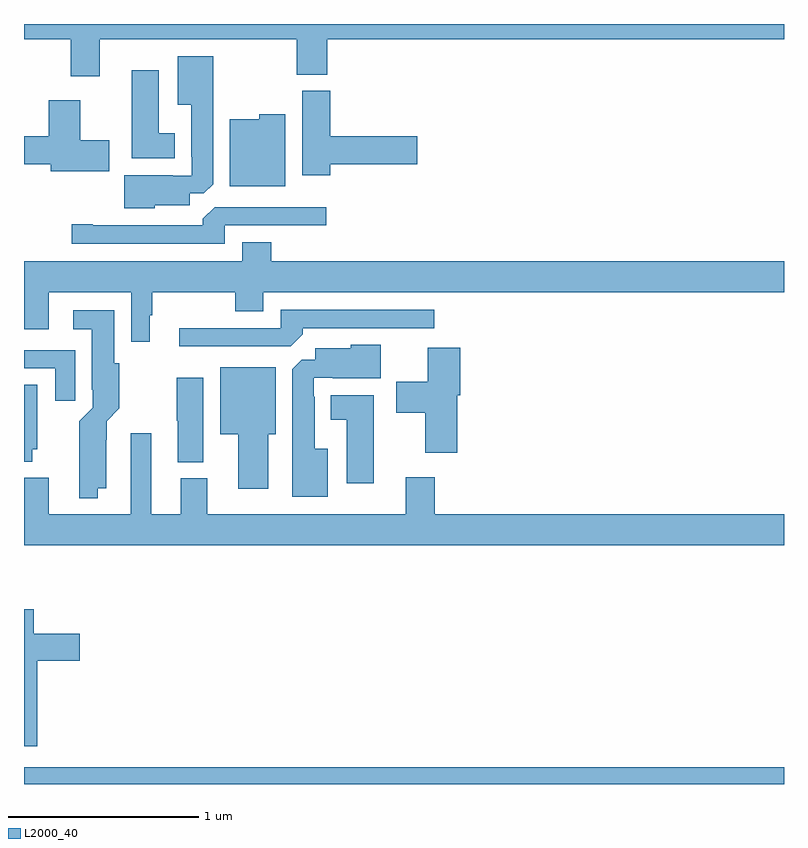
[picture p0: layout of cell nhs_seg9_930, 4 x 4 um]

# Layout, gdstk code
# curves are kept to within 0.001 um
import gdstk
lib = gdstk.Library(unit=1e-6, precision=1e-09)
def R(c, l, rs):  # rectangles x0, y0, x1, y1
    for r in rs: c.add(gdstk.rectangle(r[:2], r[2:], *l))
def P(c, l, *ps):  # polygons
    for p in ps: c.add(gdstk.Polygon(p, *l))
L2000_40 = (2000, 40)

nhs_seg9_930 = lib.new_cell('nhs_seg9_930')
R(nhs_seg9_930, L2000_40, [(161,1192.5,165,1192.588)])
P(nhs_seg9_930, L2000_40, [(161.398,1196.42),(162.436,1196.42),(162.436,1196.233),(162.596,1196.233),(162.596,1196.42),(165,1196.42),(165,1196.5),(161,1196.5),(161,1196.42),(161.246,1196.42),(161.246,1196.226),(161.398,1196.226)],
  [(161.688,1195.547),(161.872,1195.547),(161.872,1195.608),(161.946,1195.608),(161.995,1195.657),(161.995,1196.329),(161.81,1196.329),(161.81,1196.075),(161.879,1196.075),(161.879,1195.801),(161.883,1195.801),(161.883,1195.701),(161.783,1195.701),(161.783,1195.705),(161.528,1195.705),(161.528,1195.529),(161.688,1195.529)],
  [(161.794,1195.924),(161.71,1195.924),(161.71,1196.257),(161.567,1196.257),(161.567,1195.793),(161.794,1195.793)],
  [(162.611,1195.763),(163.069,1195.763),(163.069,1195.91),(162.611,1195.91),(162.611,1196.148),(162.464,1196.148),(162.464,1195.704),(162.611,1195.704)],
  [(161.449,1195.887),(161.296,1195.887),(161.296,1196.098),(161.129,1196.098),(161.129,1195.91),(161,1195.91),(161,1195.763),(161.141,1195.763),(161.141,1195.724),(161.449,1195.724)],
  [(162.376,1196.026),(162.237,1196.026),(162.237,1195.999),(162.083,1195.999),(162.083,1195.646),(162.376,1195.646)],
  [(162.057,1195.44),(162.592,1195.44),(162.592,1195.536),(162.003,1195.536),(161.942,1195.474),(161.942,1195.44),(161.362,1195.44),(161.362,1195.445),(161.25,1195.445),(161.25,1195.344),(162.057,1195.344)],
  [(161.662,1194.966),(161.674,1194.966),(161.674,1195.088),(162.112,1195.088),(162.112,1194.989),(162.259,1194.989),(162.259,1195.088),(165,1195.088),(165,1195.252),(162.302,1195.252),(162.302,1195.351),(162.149,1195.351),(162.149,1195.252),(161,1195.252),(161,1194.894),(161.131,1194.894),(161.131,1195.088),(161.565,1195.088),(161.565,1194.828),(161.662,1194.828)],
  [(162.467,1194.866),(162.467,1194.9),(163.159,1194.9),(163.159,1194.996),(162.351,1194.996),(162.351,1194.9),(161.817,1194.9),(161.817,1194.804),(162.405,1194.804)],
  [(161.389,1194.056),(161.434,1194.056),(161.435,1194.41),(161.502,1194.477),(161.502,1194.714),(161.476,1194.714),(161.476,1194.994),(161.259,1194.994),(161.259,1194.893),(161.357,1194.893),(161.357,1194.574),(161.361,1194.574),(161.361,1194.48),(161.291,1194.41),(161.292,1194.005),(161.389,1194.005)],
  [(162.598,1194.265),(162.529,1194.265),(162.529,1194.539),(162.525,1194.539),(162.525,1194.639),(162.625,1194.639),(162.625,1194.635),(162.877,1194.635),(162.877,1194.811),(162.72,1194.811),(162.72,1194.793),(162.533,1194.793),(162.533,1194.732),(162.462,1194.732),(162.413,1194.683),(162.413,1194.011),(162.598,1194.011)],
  [(163.28,1194.547),(163.295,1194.547),(163.295,1194.796),(163.124,1194.796),(163.124,1194.616),(162.96,1194.616),(162.96,1194.454),(163.112,1194.454),(163.112,1194.243),(163.28,1194.243)],
  [(161.269,1194.783),(161,1194.783),(161,1194.687),(161.165,1194.687),(161.165,1194.516),(161.269,1194.516)],
  [(162.286,1194.341),(162.325,1194.341),(162.325,1194.694),(162.032,1194.694),(162.032,1194.341),(162.128,1194.341),(162.128,1194.054),(162.286,1194.054)],
  [(161.944,1194.637),(161.803,1194.637),(161.803,1194.411),(161.81,1194.411),(161.81,1194.193),(161.944,1194.193)],
  [(161.044,1194.261),(161.071,1194.261),(161.071,1194.602),(161,1194.602),(161,1194.197),(161.044,1194.197)],
  [(162.841,1194.547),(162.614,1194.547),(162.614,1194.416),(162.698,1194.416),(162.698,1194.084),(162.841,1194.084)],
  [(165,1193.92),(163.163,1193.92),(163.163,1194.115),(163.01,1194.115),(163.01,1193.92),(161.965,1193.92),(161.965,1194.108),(161.825,1194.108),(161.825,1193.92),(161.671,1193.92),(161.671,1194.346),(161.561,1194.346),(161.561,1193.92),(161.131,1193.92),(161.131,1194.112),(161,1194.112),(161,1193.756),(165,1193.756)],
  [(161.069,1193.15),(161.293,1193.15),(161.293,1193.292),(161.05,1193.292),(161.05,1193.419),(161,1193.419),(161,1192.698),(161.069,1192.698)])

lib.write_gds('nhs_seg9_930.gds')
